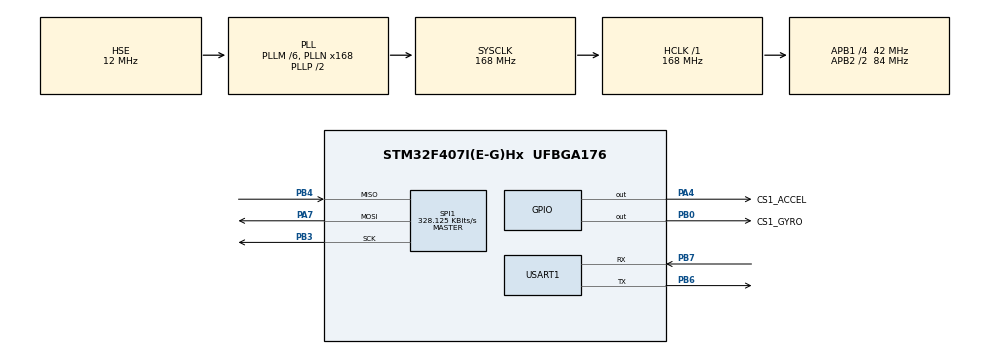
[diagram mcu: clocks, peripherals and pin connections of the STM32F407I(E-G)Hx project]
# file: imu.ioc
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Dma.Request0=SPI1_RX
Dma.Request1=SPI1_TX
Dma.SPI1_RX.0.Direction=DMA_PERIPH_TO_MEMORY
Dma.SPI1_RX.0.FIFOMode=DMA_FIFOMODE_DISABLE
Dma.SPI1_RX.0.Instance=DMA2_Stream0
Dma.SPI1_RX.0.MemDataAlignment=DMA_MDATAALIGN_BYTE
Dma.SPI1_RX.0.MemInc=DMA_MINC_ENABLE
Dma.SPI1_RX.0.Mode=DMA_NORMAL
Dma.SPI1_RX.0.PeriphDataAlignment=DMA_PDATAALIGN_BYTE
Dma.SPI1_RX.0.PeriphInc=DMA_PINC_DISABLE
Dma.SPI1_RX.0.Priority=DMA_PRIORITY_LOW
Dma.SPI1_TX.1.Direction=DMA_MEMORY_TO_PERIPH
Dma.SPI1_TX.1.FIFOMode=DMA_FIFOMODE_DISABLE
Dma.SPI1_TX.1.Instance=DMA2_Stream3
Dma.SPI1_TX.1.MemDataAlignment=DMA_MDATAALIGN_BYTE
Dma.SPI1_TX.1.MemInc=DMA_MINC_ENABLE
Dma.SPI1_TX.1.Mode=DMA_NORMAL
Dma.SPI1_TX.1.PeriphDataAlignment=DMA_PDATAALIGN_BYTE
Dma.SPI1_TX.1.PeriphInc=DMA_PINC_DISABLE
Dma.SPI1_TX.1.Priority=DMA_PRIORITY_LOW
Mcu.Family=STM32F4
Mcu.Name=STM32F407I(E-G)Hx
Mcu.Package=UFBGA176
NVIC.DMA2_Stream0_IRQn=true\:0\:0\:false\:false\:true\:false\:true\:true
NVIC.DMA2_Stream3_IRQn=true\:0\:0\:false\:false\:true\:false\:true\:true
NVIC.PriorityGroup=NVIC_PRIORITYGROUP_4
NVIC.SPI1_IRQn=true\:0\:0\:false\:false\:true\:true\:true\:true
NVIC.TIM6_DAC_IRQn=true\:1\:0\:true\:false\:true\:true\:true\:true
NVIC.USART1_IRQn=true\:0\:0\:false\:false\:true\:true\:true\:true
PA13.Mode=Serial_Wire
PA13.Signal=SYS_JTMS-SWDIO
PA14.Mode=Serial_Wire
PA14.Signal=SYS_JTCK-SWCLK
PA4.GPIO_Label=CS1_ACCEL
PA4.GPIO_PuPd=GPIO_PULLUP
PA4.GPIO_Speed=GPIO_SPEED_FREQ_HIGH
PA4.PinState=GPIO_PIN_SET
PA4.Signal=GPIO_Output
PA7.Mode=Full_Duplex_Master
PA7.Signal=SPI1_MOSI
PB0.GPIO_Label=CS1_GYRO
PB0.GPIO_PuPd=GPIO_PULLUP
PB0.GPIO_Speed=GPIO_SPEED_FREQ_HIGH
PB0.PinState=GPIO_PIN_SET
PB0.Signal=GPIO_Output
PB3.Mode=Full_Duplex_Master
PB3.Signal=SPI1_SCK
PB4.Mode=Full_Duplex_Master
PB4.Signal=SPI1_MISO
PB6.Mode=Asynchronous
PB6.Signal=USART1_TX
PB7.Mode=Asynchronous
PB7.Signal=USART1_RX
PH0-OSC_IN.Mode=HSE-External-Oscillator
PH0-OSC_IN.Signal=RCC_OSC_IN
PH1-OSC_OUT.Mode=HSE-External-Oscillator
PH1-OSC_OUT.Signal=RCC_OSC_OUT
ProjectManager.HeapSize=0x200
ProjectManager.StackSize=0x400
ProjectManager.TargetToolchain=MDK-ARM V5.32
RCC.48MHZClocksFreq_Value=84000000
RCC.AHBFreq_Value=168000000
RCC.APB1CLKDivider=RCC_HCLK_DIV4
RCC.APB1Freq_Value=42000000
RCC.APB1TimFreq_Value=84000000
RCC.APB2CLKDivider=RCC_HCLK_DIV2
RCC.APB2Freq_Value=84000000
RCC.APB2TimFreq_Value=168000000
RCC.CortexFreq_Value=168000000
RCC.HCLKFreq_Value=168000000
RCC.HSE_VALUE=12000000
RCC.HSI_VALUE=16000000
RCC.LSE_VALUE=32768
RCC.PLLM=6
RCC.PLLN=168
RCC.PLLSourceVirtual=RCC_PLLSOURCE_HSE
RCC.SYSCLKFreq_VALUE=168000000
RCC.SYSCLKSource=RCC_SYSCLKSOURCE_PLLCLK
RCC.VCOOutputFreq_Value=336000000
SPI1.BaudRatePrescaler=SPI_BAUDRATEPRESCALER_256
SPI1.CLKPhase=SPI_PHASE_2EDGE
SPI1.CLKPolarity=SPI_POLARITY_HIGH
SPI1.CalculateBaudRate=328.125 KBits/s
SPI1.Direction=SPI_DIRECTION_2LINES
SPI1.Mode=SPI_MODE_MASTER
SPI1.VirtualType=VM_MASTER
TIM6.Period=1000-1
TIM6.Prescaler=84-1
USART1.VirtualMode=VM_ASYNC
USART1.WordLength=WORDLENGTH_8B
VP_TIM6_VS_ClockSourceINT.Mode=Enable_Timer
board=custom

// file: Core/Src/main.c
/* USER CODE BEGIN Header */
/**
  ******************************************************************************
  * @file           : main.c
  * @brief          : Main program body
  ******************************************************************************
  * @attention
  *
  * Copyright (c) 2026 STMicroelectronics.
  * All rights reserved.
  *
  * This software is licensed under terms that can be found in the LICENSE file
  * in the root directory of this software component.
  * If no LICENSE file comes with this software, it is provided AS-IS.
  *
  ******************************************************************************
  */
/* USER CODE END Header */
#include "main.h"
#include "dma.h"
#include "spi.h"
#include "tim.h"
#include "usart.h"
#include "gpio.h"

/* USER CODE BEGIN Includes */
#include <stdbool.h>
#include "bmi.h"
void IMU_Calibrate(void);
void IMU_Update(float dt);
void IMU_GetEuler(float *r, float *p, float *y);
/* USER CODE END Includes */

/* USER CODE BEGIN PV */
float m_roll = 0.0f, m_pitch = 0.0f, m_yaw = 0.0f;
/* USER CODE END PV */

void SystemClock_Config(void);

int main(void)
{

  /* MCU Configuration--------------------------------------------------------*/

  /* Reset of all peripherals, Initializes the Flash interface and the Systick. */
  HAL_Init();

  /* Configure the system clock */
  SystemClock_Config();

  /* Initialize all configured peripherals */
  MX_GPIO_Init();
  MX_DMA_Init();
  MX_SPI1_Init();
  MX_TIM6_Init();
  MX_USART1_UART_Init();
  /* USER CODE BEGIN 2 */
  if (!bmi088_init()) {
    while(1);
  }
  IMU_Calibrate();
  uint32_t last_tick = HAL_GetTick();
  /* USER CODE END 2 */

  /* Infinite loop */
  /* USER CODE BEGIN WHILE */
  while (1)
  {
    uint32_t now = HAL_GetTick();
    if (now - last_tick >= 10)
    {
      float dt = (now - last_tick) / 1000.0f;
      last_tick = now;
      IMU_Update(dt);
      IMU_GetEuler(&m_roll, &m_pitch, &m_yaw);
    }
    /* USER CODE END WHILE */

  }
}

void SystemClock_Config(void)
{
  RCC_OscInitTypeDef RCC_OscInitStruct = {0};
  RCC_ClkInitTypeDef RCC_ClkInitStruct = {0};

  /** Configure the main internal regulator output voltage
  */
  __HAL_RCC_PWR_CLK_ENABLE();
  __HAL_PWR_VOLTAGESCALING_CONFIG(PWR_REGULATOR_VOLTAGE_SCALE1);

  /** Initializes the RCC Oscillators according to the specified parameters
  * in the RCC_OscInitTypeDef structure.
  */
  RCC_OscInitStruct.OscillatorType = RCC_OSCILLATORTYPE_HSE;
  RCC_OscInitStruct.HSEState = RCC_HSE_ON;
  RCC_OscInitStruct.PLL.PLLState = RCC_PLL_ON;
  RCC_OscInitStruct.PLL.PLLSource = RCC_PLLSOURCE_HSE;
  RCC_OscInitStruct.PLL.PLLM = 6;
  RCC_OscInitStruct.PLL.PLLN = 168;
  RCC_OscInitStruct.PLL.PLLP = RCC_PLLP_DIV2;
  RCC_OscInitStruct.PLL.PLLQ = 4;
  if (HAL_RCC_OscConfig(&RCC_OscInitStruct) != HAL_OK)
  {
    Error_Handler();
  }

  /** Initializes the CPU, AHB and APB buses clocks
  */
  RCC_ClkInitStruct.ClockType = RCC_CLOCKTYPE_HCLK|RCC_CLOCKTYPE_SYSCLK
                              |RCC_CLOCKTYPE_PCLK1|RCC_CLOCKTYPE_PCLK2;
  RCC_ClkInitStruct.SYSCLKSource = RCC_SYSCLKSOURCE_PLLCLK;
  RCC_ClkInitStruct.AHBCLKDivider = RCC_SYSCLK_DIV1;
  RCC_ClkInitStruct.APB1CLKDivider = RCC_HCLK_DIV4;
  RCC_ClkInitStruct.APB2CLKDivider = RCC_HCLK_DIV2;

  if (HAL_RCC_ClockConfig(&RCC_ClkInitStruct, FLASH_LATENCY_5) != HAL_OK)
  {
    Error_Handler();
  }
}

void Error_Handler(void)
{
  __disable_irq();
  while (1)
  {
  }
}
